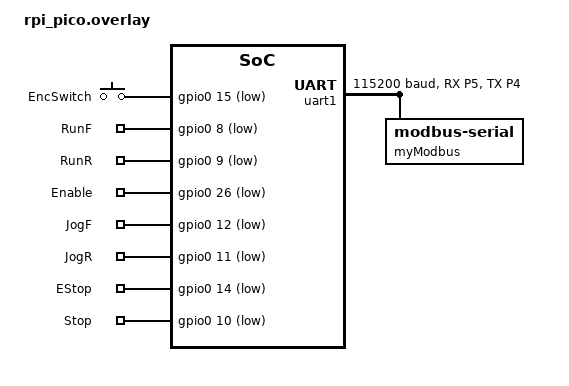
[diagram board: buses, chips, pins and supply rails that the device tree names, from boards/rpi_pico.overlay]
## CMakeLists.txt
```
# SPDX-License-Identifier: Apache-2.0

cmake_minimum_required(VERSION 3.20.0)

set(CMAKE_EXPORT_COMPILE_COMMANDS ON)

find_package(Zephyr REQUIRED HINTS $ENV{ZEPHYR_BASE})
project(XP200_RTU_HID)

include_directories(${CMAKE_CURRENT_SOURCE_DIR}/src)
target_sources(app PRIVATE src/main.cpp src/ui/button.cpp src/ui/buttonbus.cpp src/ui/buttons.cpp src/machine/machine.cpp src/modbus/modbus.cpp)
```

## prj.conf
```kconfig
CONFIG_OUTPUT_PRINT_MEMORY_USAGE=y
CONFIG_SYS_CLOCK_HW_CYCLES_PER_SEC=1000000
CONFIG_DYNAMIC_THREAD=y
CONFIG_DYNAMIC_OBJECTS=y
CONFIG_DYNAMIC_THREAD_PREFER_POOL=y
CONFIG_DYNAMIC_THREAD_STACK_SIZE=4096
CONFIG_DYNAMIC_THREAD_POOL_SIZE=6
CONFIG_HEAP_MEM_POOL_SIZE=16384
# CONFIG_FPU=y
CONFIG_GPIO=y
CONFIG_LOG=y
CONFIG_CONSOLE=y
# CONFIG_UART_CONSOLE=y
CONFIG_REBOOT=y
# CONFIG_FPU_SHARING=y
CONFIG_FLASH=y
# CONFIG_DISPLAY=y
# CONFIG_SDL_DISPLAY_DEFAULT_PIXEL_FORMAT_MONO01=y
# CONFIG_FLASH_SHELL=y
# CONFIG_FLASH_SHELL_TEST_COMMANDS=y
# CONFIG_GPIO_SHELL=y
# CONFIG_UART_SHELL=y
# CONFIG_SHELL=y
CONFIG_CPP=y
CONFIG_STD_CPP20=y
CONFIG_REQUIRES_FULL_LIBCPP=y
CONFIG_CPP_EXCEPTIONS=y
CONFIG_CPP_RTTI=y
CONFIG_STD_C17=y
CONFIG_POSIX_API=y
# CONFIG_POSIX_C_LIB_EXT=y
# CONFIG_GETOPT_LONG=y
# CONFIG_SHELL_GETOPT=y
CONFIG_SERIAL=y
CONFIG_UART_USE_RUNTIME_CONFIGURE=y
# CONFIG_LOG_FRONTEND=y
# CONFIG_LOG_THREAD_ID_PREFIX=y
# CONFIG_LOG_INFO_COLOR_GREEN=y
# CONFIG_LOG_DBG_COLOR_BLUE=y
# CONFIG_LOG_BACKEND_UART=y
# CONFIG_LOG_CMDS=y
CONFIG_MODBUS=y
CONFIG_MODBUS_ROLE_CLIENT=y
CONFIG_MODBUS_SERIAL=y
# CONFIG_NETWORKING=y
# CONFIG_NET_L2_WIFI_SHELL=y
# CONFIG_NET_IPV4=y
# CONFIG_NET_SHELL=y
# CONFIG_NET_DHCPV4=y
# CONFIG_NET_DHCPV6=y
# CONFIG_NET_CONNECTION_MANAGER=y
CONFIG_SETTINGS=y
CONFIG_SETTINGS_SHELL=y
CONFIG_SHELL=y

CONFIG_LOG_MODE_MINIMAL=y
CONFIG_ASSERT=y
CONFIG_BOOT_BANNER=n
CONFIG_MAIN_THREAD_PRIORITY=3
CONFIG_TIMESLICE_SIZE=0
CONFIG_ZBUS=y
CONFIG_ZBUS_LOG_LEVEL_INF=y
CONFIG_ZBUS_CHANNEL_NAME=y
CONFIG_ZBUS_OBSERVER_NAME=y
CONFIG_ZBUS_MSG_SUBSCRIBER=y
CONFIG_HEAP_MEM_POOL_SIZE=4096
CONFIG_ZBUS_MSG_SUBSCRIBER_NET_BUF_POOL_SIZE=32

CONFIG_SMP=y
CONFIG_PRINTK=y

# CONFIG_NETWORKING=y
# CONFIG_NET_IPV6=y
# CONFIG_NET_IPV4=y
# CONFIG_NET_ARP=y
# CONFIG_NET_UDP=y
# CONFIG_NET_TCP=y
# CONFIG_NET_L2_VIRTUAL=y
# CONFIG_NET_DHCPV4=n
# CONFIG_NET_CONNECTION_MANAGER=y
# CONFIG_NET_IF_UNICAST_IPV6_ADDR_COUNT=3
# CONFIG_NET_IF_MCAST_IPV6_ADDR_COUNT=3
# CONFIG_NET_MAX_CONTEXTS=10
# CONFIG_NET_PKT_TX_COUNT=20
# CONFIG_NET_BUF_TX_COUNT=50

# CONFIG_TEST_RANDOM_GENERATOR=y

# CONFIG_INIT_STACKS=y

# CONFIG_NET_BUF_LOG=n
# CONFIG_NET_LOG=n
# CONFIG_QEMU_ICOUNT=y

# CONFIG_QEMU_ICOUNT_SHIFT=6

# # CONFIG_SERIAL=y
# # # CONFIG_SERIAL_SUPPORT_INTERRUPT=y
# # CONFIG_SERIAL_ESP32_USB=y

# CONFIG_NET_CONFIG_SETTINGS=y
# CONFIG_NET_CONFIG_MY_IPV6_ADDR="2001:db8::1"
# CONFIG_NET_CONFIG_MY_IPV4_ADDR="192.0.2.3"

# CONFIG_NET_SHELL=y
# CONFIG_KERNEL_SHELL=y
# CONFIG_SHELL_BACKEND_TELNET=y
# CONFIG_SHELL_TELNET_SUPPORT_COMMAND=y
# CONFIG_NET_TCP_LOG_LEVEL_DBG=y

CONFIG_ZBUS=y
CONFIG_ZBUS_MSG_SUBSCRIBER=y
CONFIG_GPIO=y

CONFIG_DEBUG=y
# CONFIG_NO_OPTIMIZATIONS=y
# CONFIG_DEBUG_OPTIMIZATIONS=y
CONFIG_ASSERT=y
CONFIG_LOG_DEFAULT_LEVEL=3
# CONFIG_HW_STACK_PROTECTION=y
CONFIG_STACK_SENTINEL=y
CONFIG_USERSPACE=n # native_sim does't have user space and it's probably useless on the esp32 for my use

CONFIG_MODBUS_LOG_LEVEL_DBG=y
# CONFIG_MODBUS_LOG_LEVEL=4
CONFIG_UART_INTERRUPT_DRIVEN=y
# CONFIG_UART_LINE_CTRL=y
```

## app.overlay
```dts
/*
 * Generic Modbus node definition for the application
 */

// / {
	//     modbusClient: modbusClient {
		//         status = "okay";
		//         compatible = "zephyr,modbus-serial";
		//         current-speed = <115200>;
		//         /* The uart property will be provided by board-specific overlays */
	//     };
// };
```

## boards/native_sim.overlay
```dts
/ {


	uart2: uart2 {
		status = "okay";
		compatible = "zephyr,native-tty-uart";
		current-speed = <115200>;
		serial-port = "/tmp/ttyS0";

		myModbus: myModbus {
			compatible = "zephyr,modbus-serial";
			status = "okay";
			// uart = <&uart2>;
		};
	};



	chosen {
		zephyr,modbus-serial = &myModbus;
	};
};
```

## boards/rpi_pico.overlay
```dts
/ {
        // base pinctrl is include/zephyr/dt-bindings/pinctrl/rpi-pico-pinctrl-common.h
    buttons {
        compatible = "gpio-keys";


        // speedA: speed_A {
        //     gpios = <&gpio0 6 (GPIO_PULL_UP | GPIO_ACTIVE_LOW)>;
        //     label = "SpeedA";
        // };

        // speedB: speed_B {
        //     gpios = <&gpio0 7 (GPIO_PULL_UP | GPIO_ACTIVE_LOW)>;
        //     label = "SpeedB";
            
        // };

        encSwitch: enc_Switch {
            gpios = <&gpio0 15 (GPIO_PULL_UP | GPIO_ACTIVE_LOW)>;
            label = "EncSwitch";
            
        };

        runF: run_F {
            gpios = <&gpio0 8 (GPIO_PULL_UP | GPIO_ACTIVE_LOW)>;
            label = "RunF";
            
        };

        runR: run_R {
            gpios = <&gpio0 9 (GPIO_PULL_UP | GPIO_ACTIVE_LOW)>;
            label = "RunR";
            
        };

        enable: enable {
            gpios = <&gpio0 26 (GPIO_PULL_UP | GPIO_ACTIVE_LOW)>;
            label = "Enable";
            
        };

        jogf: jogF {
            gpios = <&gpio0 12 (GPIO_PULL_UP | GPIO_ACTIVE_LOW)>;
            label = "JogF";
            
        };

        jogr: jogR {
            gpios = <&gpio0 11 (GPIO_PULL_UP | GPIO_ACTIVE_LOW)>;
            label = "JogR";
            
        };

        estop: eStop {
            gpios = <&gpio0 14 (GPIO_PULL_UP | GPIO_ACTIVE_LOW)>;
            label = "EStop";
            
        };

        stop: Stop {
            gpios = <&gpio0 10 (GPIO_PULL_UP | GPIO_ACTIVE_LOW)>;
            label = "Stop";
            
        };
    };

    
// &uart0 {
// 	current-speed = <115200>;
// 	status = "okay";
// 	pinctrl-0 = <&uart0_default>;
// 	pinctrl-names = "default";
// };

   

    chosen {
		zephyr,modbus-serial = &myModbus;
	};
}; 

&pinctrl {
        uart1_default: uart1_default {
            group1 {
                pinmux = <UART1_RX_P5>;
                input-enable;
                bias-pull-up;
            };
            group2 {
                pinmux = <UART1_TX_P4>;
            };
        };
    };

&uart1 {
        pinctrl-0 = <&uart1_default>;
        pinctrl-names = "default";
        current-speed = <115200>;
        status = "okay";
        myModbus: myModbus {
            compatible = "zephyr,modbus-serial";
            status = "okay";
        };
    };
```

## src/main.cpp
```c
/*
 * Copyright (c) 2016 Open-RnD Sp. z o.o.
 * Copyright (c) 2020 Nordic Semiconductor ASA
 *
 * SPDX-License-Identifier: Apache-2.0
 */

#include <inttypes.h>
#include <zephyr/device.h>

#include <zephyr/kernel.h>
#include <zephyr/modbus/modbus.h>
#include <zephyr/sys/printk.h>
#include <zephyr/sys/util.h>

#include "modbus/modbus.hpp"
#include "ui/buttons.hpp"

#include <zephyr/logging/log.h>

LOG_MODULE_REGISTER(main, LOG_LEVEL_DBG);

#define SLEEP_TIME_MS 1

/*
 * Get button configuration from the devicetree sw0 alias. This is mandatory.
 */
// #define EncSwitch_NODE DT_ALIAS(EncSwitch)
// #if !DT_NODE_HAS_STATUS(EncSwitch_NODE, okay)
// #error "Unsupported board: sw0 devicetree alias is not defined"
// #endif

// static const struct Button buttons[] = {
//     {GPIO_DT_SPEC_GET_OR(EncSwitch, gpios, {0}), Action::EncSwitch},
//     {GPIO_DT_SPEC_GET_OR(RunF, gpios, {0}), Action::RunF},
//     {GPIO_DT_SPEC_GET_OR(RunR, gpios, {0}), Action::RunR},
//     {GPIO_DT_SPEC_GET_OR(Stop, gpios, {0}), Action::Stop},
//     {GPIO_DT_SPEC_GET_OR(Enable, gpios, {0}), Action::Enable},
//     {GPIO_DT_SPEC_GET_OR(JogF, gpios, {0}), Action::JogF},
//     {GPIO_DT_SPEC_GET_OR(JogR, gpios, {0}), Action::JogR},
//     {GPIO_DT_SPEC_GET_OR(EStop, gpios, {0}), Action::EStop},
// };

// const struct device *uart0 = DEVICE_DT_GET(DT_NODELABEL(uart0));

#define MODBUS_NODE DT_CHOSEN(zephyr_modbus_serial)
#define MODBUS_UART_NODE DT_PARENT(MODBUS_NODE)
#define MODBUS_UART_SPEED DT_PROP(MODBUS_UART_NODE, current_speed)

const XP200RTU *modbusClient = nullptr;

int main(void)
{
	const char *modbusInterfaceName = DEVICE_DT_NAME(MODBUS_NODE);
	modbusClient = new XP200RTU(modbusInterfaceName, MODBUS_UART_SPEED);
	// uint16_t holding_reg[8] = {'H', 'e', 'l', 'l', 'o'};
	// const uint8_t coil_qty = 3;
	// uint8_t coil[1] = {0};
	// const int32_t sleep = 250;
	// static uint8_t node = 1;
	// int err;

	// err = modbus_write_holding_regs(client_iface, node, 0, holding_reg,
	//                                 ARRAY_SIZE(holding_reg));
	// if (err != 0)
	// {
	//     LOG_ERR("FC16 failed with %d", err);
	//     return 0;
	// }

	// err = modbus_read_holding_regs(client_iface, node, 0, holding_reg,
	//                                ARRAY_SIZE(holding_reg));
	// if (err != 0)
	// {
	//     LOG_ERR("FC03 failed with %d", err);
	//     return 0;
	// }

	// LOG_HEXDUMP_INF(holding_reg, sizeof(holding_reg),
	//                 "WR|RD holding register:");

	while (42)
	{
		// uint16_t addr = 0;

		// err = modbus_read_coils(client_iface, node, 0, coil, coil_qty);
		// if (err != 0)
		// {
		//     LOG_ERR("FC01 failed with %d", err);
		//     return 0;
		// }

		// LOG_INF("Coils state 0x%02x", coil[0]);

		// err = modbus_write_coil(client_iface, node, addr++, true);
		// if (err != 0)
		// {
		//     LOG_ERR("FC05 failed with %d", err);
		//     return 0;
		// }

		// k_msleep(sleep);
		// err = modbus_write_coil(client_iface, node, addr++, true);
		// if (err != 0)
		// {
		//     LOG_ERR("FC05 failed with %d", err);
		//     return 0;
		// }

		// k_msleep(sleep);
		// err = modbus_write_coil(client_iface, node, addr++, true);
		// if (err != 0)
		// {
		//     LOG_ERR("FC05 failed with %d", err);
		//     return 0;
		// }

		k_msleep(500);
		// int err = modbus_read_coils(client_iface, node, 0, coil, coil_qty);
		// if (err != 0)
		// {
		//     LOG_ERR("FC01 failed with %d", err);
		//     return 0;
		// }

		// LOG_INF("Coils state 0x%02x", coil[0]);

		// coil[0] = 0;
		// err = modbus_write_coils(client_iface, node, 0, coil, coil_qty);
		// if (err != 0)
		// {
		//     LOG_ERR("FC15 failed with %d", err);
		//     return 0;
		// }

		// k_msleep(sleep);
	}
}
```

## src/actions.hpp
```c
#pragma once

#include <cstdint>

enum class Action : int8_t // actions that the UI can accept and process
{
	None = 0x00,
	EncSwitch = 0x01,
	SetSpeed = 0x02,
	RunF = 0x03,
	RunR = 0x04,
	Stop = 0x05,
	Enable = 0x06,
	Disable = 0x07,
	ACLR = 0x08, // alarm clear
	JogF = 0x09,
	JogR = 0x10,
	EStop = 0x11
};

// Enable bitmask operations for Stuff
inline Action operator|(Action a, Action b)
{
	return static_cast<Action>(static_cast<int8_t>(a) | static_cast<int8_t>(b));
}

inline Action operator&(Action a, Action b)
{
	return static_cast<Action>(static_cast<int8_t>(a) & static_cast<int8_t>(b));
}
```

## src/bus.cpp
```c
#include "bus.hpp"

#include <zephyr/kernel.h>
#include <zephyr/logging/log.h>
#include <zephyr/sys/util_macro.h>
#include <zephyr/zbus/zbus.h>

#include "machine/machine.hpp"
ZBUS_CHAN_DEFINE_WITH_ID(WRITE,                                 /* Name */
                         0x12345678,                            /* Unique channel identifier */
                         WriteMsg *,                            /* Message type */
                         NULL,                                  /* Validator */
                         Machine::GetInstance()->GetHIDState(), /* User data */
                         ZBUS_OBSERVERS_EMPTY,                  /* observers */
                         new WriteMsg());

Bus::Bus()
{
    /* Initial value */
    //);
}
```

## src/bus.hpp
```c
#pragma once

#include <zephyr/kernel.h>
#include <zephyr/logging/log.h>
#include <zephyr/sys/util_macro.h>
#include <zephyr/zbus/zbus.h>

#include "actions.hpp"

struct WriteMsg
{
    Action action = Action::None;
};

class Bus
{
public:
    Bus();

private:
};
```
